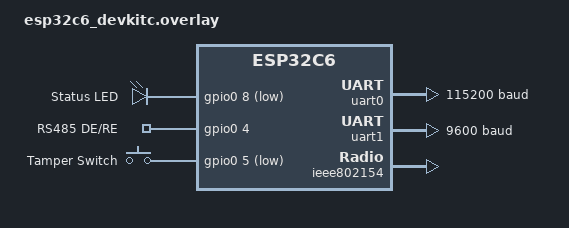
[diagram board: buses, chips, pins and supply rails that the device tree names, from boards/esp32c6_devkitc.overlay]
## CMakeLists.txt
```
cmake_minimum_required(VERSION 3.20.0)
find_package(Zephyr REQUIRED HINTS $ENV{ZEPHYR_BASE})

project(ami-thread-lwm2m
    VERSION 0.1.0
    DESCRIPTION "AMI Node: Thread + LwM2M on ESP32-C6 for Smart Energy"
    LANGUAGES C
)

# Application sources
target_sources(app PRIVATE
    src/main.c
    src/thread_network.c
    src/lwm2m_client.c
    src/lwm2m_objects.c
    src/meter_dlms.c
    src/meter_modbus.c
    src/fota.c
)

target_include_directories(app PRIVATE
    src/
)
```

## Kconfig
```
mainmenu "AMI Thread+LwM2M Node"

config AMI_FW_VERSION
	string "AMI node firmware version"
	default "0.2.0"
	help
	  Version string for AMI firmware, reported via LwM2M Object 3
	  (Device) and Object 5 (Firmware Update). Updated on each release.
	  Format: MAJOR.MINOR.PATCH (semver).

source "Kconfig.zephyr"
```

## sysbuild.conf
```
# ============================================================================
# Sysbuild: habilitar MCUboot como bootloader (dual-slot swap)
# ============================================================================
SB_CONFIG_BOOTLOADER_MCUBOOT=y
```

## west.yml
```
manifest:
  self:
    path: app

  remotes:
    - name: zephyrproject-rtos
      url-base: https://github.com/zephyrproject-rtos

  projects:
    - name: zephyr
      remote: zephyrproject-rtos
      revision: v4.2.0
      import:
        name-allowlist:
          - cmsis
          - hal_espressif
          - mbedtls
          - openthread
          - net-tools
```

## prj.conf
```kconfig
# ============================================================================
# AMI Thread + LwM2M Node — Zephyr Kconfig
# Target: XIAO ESP32-C6 (Seeed Studio)
# ============================================================================

# --- General ---
CONFIG_LOG=y
CONFIG_LOG_DEFAULT_LEVEL=3
CONFIG_LOG_BACKEND_UART=y
CONFIG_PRINTK=y
CONFIG_SHELL=y
CONFIG_ASSERT=y
CONFIG_REBOOT=y
CONFIG_HEAP_MEM_POOL_SIZE=65536
CONFIG_MAIN_STACK_SIZE=8192
CONFIG_SYSTEM_WORKQUEUE_STACK_SIZE=4096
CONFIG_BOOT_DELAY=3000

# --- Networking (IPv6 over Thread) ---
CONFIG_NETWORKING=y
CONFIG_NET_IPV6=y
CONFIG_NET_IPV4=n
CONFIG_NET_TCP=y
CONFIG_NET_UDP=y
CONFIG_NET_SOCKETS=y
CONFIG_NET_MAX_CONTEXTS=10
CONFIG_NET_PKT_RX_COUNT=16
CONFIG_NET_PKT_TX_COUNT=16
CONFIG_NET_BUF_RX_COUNT=32
CONFIG_NET_BUF_TX_COUNT=32
CONFIG_NET_IF_UNICAST_IPV6_ADDR_COUNT=6
CONFIG_NET_IF_MCAST_IPV6_ADDR_COUNT=8
CONFIG_NET_L2_OPENTHREAD=y
# CONFIG_NET_CONFIG_NEED_IPV6 removed in v4.2.0

# --- OpenThread ---
CONFIG_OPENTHREAD=y
CONFIG_OPENTHREAD_FTD=y
CONFIG_OPENTHREAD_SHELL=y
CONFIG_OPENTHREAD_NETWORK_NAME="AMI-Pilot-2025"
CONFIG_OPENTHREAD_CHANNEL=25
CONFIG_OPENTHREAD_PANID=43981
CONFIG_OPENTHREAD_XPANID="12:34:56:78:90:AB:CD:EF"
CONFIG_OPENTHREAD_NETWORKKEY="00:11:22:33:44:55:66:77:88:99:AA:BB:CC:DD:EE:FF"
CONFIG_OPENTHREAD_JOINER=y
CONFIG_OPENTHREAD_COMMISSIONER=n
CONFIG_OPENTHREAD_DNS_CLIENT=y
CONFIG_OPENTHREAD_SRP_CLIENT=y
CONFIG_OPENTHREAD_COAP=y
CONFIG_OPENTHREAD_MTD_SED=n
CONFIG_OPENTHREAD_DEFAULT_TX_POWER=8
CONFIG_OPENTHREAD_THREAD_VERSION_1_3=y

# Thread security (via mbedTLS, auto-enabled by OpenThread)
CONFIG_MBEDTLS=y
CONFIG_MBEDTLS_BUILTIN=y

# --- LwM2M Client ---
CONFIG_LWM2M=y
CONFIG_LWM2M_ENGINE_MAX_OBSERVER=10
CONFIG_LWM2M_ENGINE_MAX_MESSAGES=10
CONFIG_LWM2M_ENGINE_MAX_PENDING=10
CONFIG_LWM2M_ENGINE_MAX_REPLIES=10
CONFIG_LWM2M_ENGINE_STACK_SIZE=4096
CONFIG_LWM2M_ENGINE_DEFAULT_LIFETIME=300
CONFIG_LWM2M_COAP_BLOCK_SIZE=256
# LwM2M Objects
CONFIG_LWM2M_CONN_MON_OBJ_SUPPORT=y
CONFIG_LWM2M_IPSO_SUPPORT=y
CONFIG_LWM2M_IPSO_VOLTAGE_SENSOR=y
CONFIG_LWM2M_IPSO_CURRENT_SENSOR=y
CONFIG_LWM2M_IPSO_GENERIC_SENSOR=y
CONFIG_LWM2M_IPSO_GENERIC_SENSOR_INSTANCE_COUNT=2

# LwM2M security (NoSec for now, DTLS optional)
# CONFIG_LWM2M_DTLS_SUPPORT=y

# --- CoAP ---
CONFIG_COAP=y

# --- UART (RS-485 para medidores) ---
CONFIG_SERIAL=y
CONFIG_SERIAL_ESP32_USB=y
CONFIG_UART_INTERRUPT_DRIVEN=y

# --- GPIO (tamper detection, RS-485 DE/RE) ---
CONFIG_GPIO=y

# --- Power Management (deshabilitado: nodo alimentado por medidor) ---
# CONFIG_PM=y
# CONFIG_PM_DEVICE=y

# --- Flash & NVS (persistent storage) ---
CONFIG_FLASH=y
CONFIG_FLASH_MAP=y
CONFIG_NVS=y
CONFIG_SETTINGS=y
CONFIG_SETTINGS_NVS=y

# --- Watchdog ---
CONFIG_WATCHDOG=y
CONFIG_WDT_DISABLE_AT_BOOT=n

# --- MCUboot + FOTA (OTA firmware update) ---
CONFIG_BOOTLOADER_MCUBOOT=y
CONFIG_IMG_MANAGER=y
CONFIG_MCUBOOT_IMG_MANAGER=y
CONFIG_IMG_ERASE_PROGRESSIVELY=y
CONFIG_IMG_ENABLE_IMAGE_CHECK=y
CONFIG_IMG_BLOCK_BUF_SIZE=512
CONFIG_STREAM_FLASH=y

# LwM2M Firmware Update Object (ID 5)
CONFIG_LWM2M_FIRMWARE_UPDATE_OBJ_SUPPORT=y
CONFIG_LWM2M_FIRMWARE_UPDATE_PULL_SUPPORT=y

# Versión de firmware (usada por FOTA para reportar al servidor)
CONFIG_AMI_FW_VERSION="0.2.0"

# --- Debug (desactivar en producción) ---
CONFIG_THREAD_ANALYZER=y
CONFIG_THREAD_NAME=y
CONFIG_EXCEPTION_STACK_TRACE=y
CONFIG_FAULT_DUMP=2
CONFIG_EXTRA_EXCEPTION_INFO=y
CONFIG_EARLY_CONSOLE=y

# --- IEEE 802.15.4 radio debug ---
CONFIG_IEEE802154_DRIVER_LOG_LEVEL_DBG=y

# --- Floating point printf support ---
CONFIG_CBPRINTF_FP_SUPPORT=y
```

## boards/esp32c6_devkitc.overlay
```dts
/*
 * ESP32-C6 AMI Node — Device Tree Overlay
 * 
 * Configura:
 * - UART1 para RS-485 (medidor DLMS/Modbus)
 * - GPIO para RS-485 DE/RE control
 * - GPIO para tamper detection (alarma apertura caja)
 */

/ {
	aliases {
		meter-uart = &uart1;
		led0 = &led_status;
	};

	chosen {
		zephyr,console = &uart0;
		zephyr,shell-uart = &uart0;
	};

	leds {
		compatible = "gpio-leds";
		led_status: led_0 {
			gpios = <&gpio0 8 GPIO_ACTIVE_LOW>;
			label = "Status LED";
		};
	};

	/* RS-485 direction control (DE/RE pin) */
	rs485_ctrl {
		compatible = "gpio-keys";
		rs485_de: rs485_de_pin {
			gpios = <&gpio0 4 GPIO_ACTIVE_HIGH>;
			label = "RS485 DE/RE";
		};
	};

	/* Tamper detection switch */
	tamper_detect {
		compatible = "gpio-keys";
		tamper_sw: tamper_switch {
			gpios = <&gpio0 5 (GPIO_PULL_UP | GPIO_ACTIVE_LOW)>;
			label = "Tamper Switch";
		};
	};
};

/* UART0: Console/Shell (default) */
&uart0 {
	status = "okay";
	current-speed = <115200>;
};

/* UART1: RS-485 to meter (DLMS/COSEM or Modbus RTU) */
&uart1 {
	status = "okay";
	current-speed = <9600>;
	/* TX: GPIO6, RX: GPIO7 — adjust per your wiring */
	pinctrl-0 = <&uart1_default>;
	pinctrl-names = "default";
};

&ieee802154 {
	status = "okay";
};
```

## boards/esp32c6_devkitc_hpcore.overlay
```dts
/*
 * ESP32-C6 AMI Node — Device Tree Overlay (Zephyr v4.2.0)
 *
 * Configura:
 * - UART1 para RS-485 (medidor DLMS/Modbus) — TX: GPIO10, RX: GPIO11
 * - GPIO para RS-485 DE/RE control          — GPIO4
 * - GPIO para tamper detection              — GPIO5
 * - LED de estado                           — GPIO8
 *
 * La board base (esp32c6_devkitc_hpcore) ya habilita:
 *   ieee802154, wifi, uart0 (console), gpio0, trng0, wdt0
 */

#include <zephyr/dt-bindings/pinctrl/esp-pinctrl-common.h>
#include <dt-bindings/pinctrl/esp32c6-pinctrl.h>
#include <zephyr/dt-bindings/pinctrl/esp32c6-gpio-sigmap.h>

/* ── Pinctrl para UART1 (RS-485) ──────────────────────────── */
&pinctrl {
	uart1_default: uart1_default {
		group1 {
			pinmux = <UART1_TX_GPIO10>;
			output-high;
		};
		group2 {
			pinmux = <UART1_RX_GPIO11>;
			bias-pull-up;
		};
	};
};

/ {
	aliases {
		meter-uart = &uart1;
		led0 = &led_status;
	};

	leds {
		compatible = "gpio-leds";
		led_status: led_0 {
			gpios = <&gpio0 8 GPIO_ACTIVE_LOW>;
			label = "Status LED";
		};
	};

	/* RS-485 direction control (DE/RE pin) */
	rs485_ctrl {
		compatible = "gpio-keys";
		rs485_de: rs485_de_pin {
			gpios = <&gpio0 4 GPIO_ACTIVE_HIGH>;
			label = "RS485 DE/RE";
		};
	};

	/* Tamper detection switch */
	tamper_detect {
		compatible = "gpio-keys";
		tamper_sw: tamper_switch {
			gpios = <&gpio0 5 (GPIO_PULL_UP | GPIO_ACTIVE_LOW)>;
			label = "Tamper Switch";
		};
	};
};

/* UART1: RS-485 to meter (DLMS/COSEM or Modbus RTU) */
&uart1 {
	status = "okay";
	current-speed = <9600>;
	pinctrl-0 = <&uart1_default>;
	pinctrl-names = "default";
};
```

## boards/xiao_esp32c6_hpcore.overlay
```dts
/*
 * XIAO ESP32-C6 AMI Node — Device Tree Overlay (Zephyr v4.2.0)
 *
 * Configura:
 * - UART1 para RS-485 (medidor DLMS/Modbus) — TX: GPIO0 (D0), RX: GPIO1 (D1)
 * - GPIO para RS-485 DE/RE control          — GPIO2 (D2)
 * - GPIO para tamper detection              — GPIO21 (D3)
 * - LED de estado ya definida en DTS base   — GPIO15
 *
 * Pin mapping XIAO ESP32-C6:
 *   D0=GPIO0, D1=GPIO1, D2=GPIO2, D3=GPIO21, D4=GPIO22(SDA),
 *   D5=GPIO23(SCL), D6=GPIO16(TX), D7=GPIO17(RX),
 *   D8=GPIO19(SCK), D9=GPIO20(MISO), D10=GPIO18(MOSI)
 *
 * La board base (xiao_esp32c6_hpcore) ya habilita:
 *   ieee802154, wifi, usb_serial (console), gpio0, trng0, wdt0
 */

#include <zephyr/dt-bindings/pinctrl/esp-pinctrl-common.h>
#include <dt-bindings/pinctrl/esp32c6-pinctrl.h>
#include <zephyr/dt-bindings/pinctrl/esp32c6-gpio-sigmap.h>

/* ── Pinctrl para UART1 (RS-485) ──────────────────────────── */
&pinctrl {
	uart1_default: uart1_default {
		group1 {
			pinmux = <UART1_TX_GPIO0>;
			output-high;
		};
		group2 {
			pinmux = <UART1_RX_GPIO1>;
			bias-pull-up;
		};
	};
};

/ {
	aliases {
		meter-uart = &uart1;
		/* led0 already defined in base DTS (GPIO15) */
	};

	/* RS-485 direction control (DE/RE pin) on D2 */
	rs485_ctrl {
		compatible = "gpio-keys";
		rs485_de: rs485_de_pin {
			gpios = <&gpio0 2 GPIO_ACTIVE_HIGH>;
			label = "RS485 DE/RE";
		};
	};

	/* Tamper detection switch on D3 */
	tamper_detect {
		compatible = "gpio-keys";
		tamper_sw: tamper_switch {
			gpios = <&gpio0 21 (GPIO_PULL_UP | GPIO_ACTIVE_LOW)>;
			label = "Tamper Switch";
		};
	};
};

/* UART1: RS-485 to meter (DLMS/COSEM or Modbus RTU) */
&uart1 {
	status = "okay";
	current-speed = <9600>;
	pinctrl-0 = <&uart1_default>;
	pinctrl-names = "default";
};
```

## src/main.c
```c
/*
 * AMI Thread + LwM2M Node — Main Entry Point
 * 
 * Sistema de medición inteligente sobre ESP32-C6 con Zephyr RTOS.
 * Arquitectura: Thread mesh → CoAP/LwM2M → Border Router → Gateway Edge
 * 
 * Flujo principal:
 * 1. Inicializar hardware (UART, GPIO, LED)
 * 2. Unirse a red Thread (OpenThread FTD)
 * 3. Registrar cliente LwM2M con servidor (Leshan/ThingsBoard)
 * 4. Loop: leer medidor → actualizar objects LwM2M → esperar intervalo
 */

#include <zephyr/kernel.h>
#include <zephyr/version.h>
#include <zephyr/logging/log.h>
#include <zephyr/drivers/gpio.h>
#include <zephyr/net/openthread.h>
#include <openthread.h>  /* new module-level API (v4.2.0) */

#include "thread_network.h"
#include "lwm2m_client.h"
#include "meter_dlms.h"
#include "meter_modbus.h"
#include "fota.h"

LOG_MODULE_REGISTER(main, LOG_LEVEL_INF);

/* Intervalo de lectura del medidor (ms) */
#define METER_READ_INTERVAL_MS  (15 * 60 * 1000)  /* 15 minutos */

/* LED de estado */
static const struct gpio_dt_spec led_status =
	GPIO_DT_SPEC_GET(DT_ALIAS(led0), gpios);

/* Tamper detection */
static const struct gpio_dt_spec tamper_sw =
	GPIO_DT_SPEC_GET(DT_NODELABEL(tamper_sw), gpios);

static struct gpio_callback tamper_cb_data;

/* --- Tamper ISR --- */
static void tamper_isr(const struct device *dev, struct gpio_callback *cb,
		       uint32_t pins)
{
	LOG_WRN("TAMPER DETECTED — sending critical alarm");
	/* TODO: Notificar vía LwM2M alarma CRITICAL */
	lwm2m_notify_tamper_alarm();
}

/* --- Estado del sistema --- */
typedef enum {
	STATE_INIT,
	STATE_THREAD_JOINING,
	STATE_THREAD_CONNECTED,
	STATE_LWM2M_REGISTERING,
	STATE_OPERATIONAL,
	STATE_ERROR,
} system_state_t;

static volatile system_state_t current_state = STATE_INIT;

/* --- Callback Thread state change --- */
static void on_thread_state_changed(otChangedFlags flags, void *context)
{
	ARG_UNUSED(context);

	if (flags & OT_CHANGED_THREAD_ROLE) {
		otDeviceRole role = otThreadGetDeviceRole(
			openthread_get_default_instance());

		switch (role) {
		case OT_DEVICE_ROLE_CHILD:
		case OT_DEVICE_ROLE_ROUTER:
		case OT_DEVICE_ROLE_LEADER:
			LOG_INF("Thread attached as %s",
				otThreadDeviceRoleToString(role));
			current_state = STATE_THREAD_CONNECTED;
			break;
		case OT_DEVICE_ROLE_DETACHED:
		case OT_DEVICE_ROLE_DISABLED:
			LOG_WRN("Thread detached/disabled");
			current_state = STATE_THREAD_JOINING;
			break;
		}
	}
}

/* --- Main --- */
int main(void)
{
	int ret;

	LOG_INF("=== AMI Thread+LwM2M Node v%s ===", fota_get_current_version());
	LOG_INF("Board: XIAO ESP32-C6");
	LOG_INF("RTOS: Zephyr %s", KERNEL_VERSION_STRING);

	/* 1. Inicializar LED de estado */
	if (gpio_is_ready_dt(&led_status)) {
		gpio_pin_configure_dt(&led_status, GPIO_OUTPUT_ACTIVE);
		gpio_pin_set_dt(&led_status, 0);
	}

	/* 2. Inicializar tamper detection */
	if (gpio_is_ready_dt(&tamper_sw)) {
		gpio_pin_configure_dt(&tamper_sw, GPIO_INPUT);
		gpio_pin_interrupt_configure_dt(&tamper_sw,
						GPIO_INT_EDGE_TO_ACTIVE);
		gpio_init_callback(&tamper_cb_data, tamper_isr,
				   BIT(tamper_sw.pin));
		gpio_add_callback(tamper_sw.port, &tamper_cb_data);
		LOG_INF("Tamper detection enabled on GPIO%d", tamper_sw.pin);
	}

	/* 3. Inicializar subsistema de medidores (UART) */
	ret = meter_dlms_init();
	if (ret < 0) {
		LOG_WRN("DLMS meter init failed: %d (will retry)", ret);
	}

	ret = meter_modbus_init();
	if (ret < 0) {
		LOG_WRN("Modbus meter init failed: %d (will retry)", ret);
	}

	/* 4. Inicializar y unirse a red Thread */
	LOG_INF("Joining Thread network...");
	current_state = STATE_THREAD_JOINING;
	ret = thread_network_init(on_thread_state_changed);
	if (ret < 0) {
		LOG_ERR("Thread init failed: %d", ret);
		current_state = STATE_ERROR;
		return ret;
	}

	/* Esperar conexión Thread (timeout 60s) */
	int timeout_ms = 60000;
	while (current_state != STATE_THREAD_CONNECTED && timeout_ms > 0) {
		k_msleep(500);
		timeout_ms -= 500;
		gpio_pin_toggle_dt(&led_status); /* Blink while joining */
	}

	if (current_state != STATE_THREAD_CONNECTED) {
		LOG_ERR("Thread join timeout after 60s");
		current_state = STATE_ERROR;
		return -ETIMEDOUT;
	}

	gpio_pin_set_dt(&led_status, 1); /* LED ON = connected */

	/* 5. Registrar cliente LwM2M */
	LOG_INF("Registering LwM2M client...");
	current_state = STATE_LWM2M_REGISTERING;
	ret = lwm2m_client_init();
	if (ret < 0) {
		LOG_ERR("LwM2M client init failed: %d", ret);
		current_state = STATE_ERROR;
		return ret;
	}

	/* 6. Inicializar FOTA (OTA firmware update via LwM2M Object 5) */
	ret = fota_init(NULL);
	if (ret < 0) {
		LOG_WRN("FOTA init failed: %d (OTA disabled)", ret);
	} else {
		LOG_INF("FOTA: OTA enabled — fw v%s, confirmed=%d",
			fota_get_current_version(), fota_is_confirmed());
	}

	current_state = STATE_OPERATIONAL;
	LOG_INF("System OPERATIONAL — reading meter every %d min",
		METER_READ_INTERVAL_MS / 60000);

	/* 6. Loop principal: leer medidor → report */
	while (1) {
		struct meter_reading reading = {0};

		/* Leer medidor (intentar DLMS primero, fallback Modbus) */
		ret = meter_dlms_read(&reading);
		if (ret < 0) {
			ret = meter_modbus_read(&reading);
		}

		if (ret == 0) {
			LOG_INF("Meter: %.1f V, %.2f A, %.3f kWh, PF=%.2f",
				(double)reading.voltage_v,
				(double)reading.current_a,
				(double)reading.energy_kwh,
				(double)reading.power_factor);

			/* Actualizar objects LwM2M (triggers Observe notify) */
			lwm2m_update_meter_data(&reading);

			/* Verificar alarmas de voltaje */
			if (reading.voltage_v < 207.0f ||
			    reading.voltage_v > 253.0f) {
				LOG_WRN("Voltage alarm: %.1f V",
					(double)reading.voltage_v);
				lwm2m_notify_voltage_alarm(reading.voltage_v);
			}
		} else {
			LOG_WRN("Meter read failed: %d", ret);
		}

		/* Esperar hasta próxima lectura (nodo alimentado por medidor, sin sleep) */
		k_sleep(K_MSEC(METER_READ_INTERVAL_MS));
	}

	return 0;
}
```

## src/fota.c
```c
/*
 * fota.c — Firmware Over-The-Air via LwM2M Object 5 + MCUboot
 *
 * Implementación para ESP32-C6 con Zephyr RTOS:
 * - Recibe firmware vía CoAP Block Transfer (Object 5/0/0 PUSH o 5/0/1 PULL)
 * - Escribe bloques directamente a flash slot1 (image-1) vía stream_flash
 * - Al completar descarga: verifica integridad (hash MCUboot header)
 * - Execute resource (5/0/2): marca imagen con boot_request_upgrade()
 * - Tras reboot: MCUboot carga slot1, ejecuta como test → confirmación
 *
 * Dependencias Kconfig:
 *   CONFIG_BOOTLOADER_MCUBOOT=y
 *   CONFIG_LWM2M_FIRMWARE_UPDATE_OBJ_SUPPORT=y
 *   CONFIG_IMG_MANAGER=y
 *   CONFIG_MCUBOOT_IMG_MANAGER=y
 *   CONFIG_STREAM_FLASH=y
 *   CONFIG_FLASH=y
 *   CONFIG_FLASH_MAP=y
 *   CONFIG_REBOOT=y
 */

#include <zephyr/kernel.h>
#include <zephyr/logging/log.h>
#include <zephyr/net/lwm2m.h>
#include <zephyr/dfu/mcuboot.h>
#include <zephyr/dfu/flash_img.h>
#include <zephyr/sys/reboot.h>
#include <zephyr/storage/flash_map.h>

#include "fota.h"

LOG_MODULE_REGISTER(fota, LOG_LEVEL_INF);

/* --- Versión de firmware (se actualiza en cada release) --- */
#define FW_VERSION CONFIG_AMI_FW_VERSION

/* --- Contexto interno --- */
static struct flash_img_context flash_ctx;
static struct fota_progress progress;
static fota_progress_cb_t user_cb;
static bool image_confirmed;
static uint8_t firmware_buf[CONFIG_LWM2M_COAP_BLOCK_SIZE];

/* Array con protocolos soportados (CoAP = 0) */
static uint8_t supported_protocols[] = { 0 /* CoAP */ };

/* --- Forward declarations --- */
static int fota_update_cb(uint16_t obj_inst_id,
			  uint8_t *args, uint16_t args_len);
static void *fota_get_buf(uint16_t obj_inst_id, uint16_t res_id,
			  uint16_t res_inst_id, size_t *data_len);
static int fota_block_received_cb(uint16_t obj_inst_id, uint16_t res_id,
				  uint16_t res_inst_id, uint8_t *data,
				  uint16_t data_len, bool last_block,
				  size_t total_size, size_t offset);
static int fota_cancel_cb(uint16_t obj_inst_id);

/* --- Notificar progreso --- */
static void notify_progress(void)
{
	if (user_cb) {
		user_cb(&progress);
	}
}

/* --- Confirmar imagen actual si es "test" tras OTA --- */
static void confirm_image_if_needed(void)
{
	if (!boot_is_img_confirmed()) {
		LOG_INF("FOTA: Image is unconfirmed (first boot after OTA)");
		int ret = boot_write_img_confirmed();
		if (ret == 0) {
			LOG_INF("FOTA: Image CONFIRMED — rollback disabled");
			image_confirmed = true;
		} else {
			LOG_ERR("FOTA: Failed to confirm image: %d", ret);
			LOG_WRN("FOTA: MCUboot will rollback on next reboot!");
			image_confirmed = false;
		}
	} else {
		LOG_INF("FOTA: Running confirmed image v%s", FW_VERSION);
		image_confirmed = true;
	}
}

/* --- Callback: bloque de firmware recibido --- */
static void *fota_get_buf(uint16_t obj_inst_id, uint16_t res_id,
			  uint16_t res_inst_id, size_t *data_len)
{
	*data_len = sizeof(firmware_buf);
	return firmware_buf;
}

static int fota_block_received_cb(uint16_t obj_inst_id, uint16_t res_id,
				  uint16_t res_inst_id, uint8_t *data,
				  uint16_t data_len, bool last_block,
				  size_t total_size, size_t offset)
{
	int ret;

	/* Primer bloque: inicializar contexto de flash */
	if (offset == 0) {
		LOG_INF("FOTA: Download started, total_size=%zu", total_size);
		progress.status = FOTA_STATUS_DOWNLOADING;
		progress.total_size = total_size;
		progress.bytes_received = 0;
		progress.percent = 0;

		ret = flash_img_init(&flash_ctx);
		if (ret) {
			LOG_ERR("FOTA: flash_img_init failed: %d", ret);
			progress.status = FOTA_STATUS_ERROR;
			progress.last_error = ret;
			notify_progress();
			return ret;
		}

		/* Informar al servidor LwM2M: estado = descargando */
		lwm2m_set_u8(&LWM2M_OBJ(5, 0, 3), STATE_DOWNLOADING);
	}

	/* Escribir bloque a flash slot1 */
	ret = flash_img_buffered_write(&flash_ctx, data, data_len, last_block);
	if (ret) {
		LOG_ERR("FOTA: flash write failed at offset %zu: %d",
			offset, ret);
		progress.status = FOTA_STATUS_ERROR;
		progress.last_error = ret;
		lwm2m_set_u8(&LWM2M_OBJ(5, 0, 3), STATE_IDLE);
		lwm2m_set_u8(&LWM2M_OBJ(5, 0, 5), RESULT_INTEGRITY_FAILED);
		notify_progress();
		return ret;
	}

	/* Actualizar progreso */
	progress.bytes_received = offset + data_len;
	if (total_size > 0) {
		progress.percent = (uint8_t)((progress.bytes_received * 100)
					     / total_size);
	}

	LOG_DBG("FOTA: block offset=%zu len=%u (%u%%)",
		offset, data_len, progress.percent);

	/* Último bloque: descarga completa */
	if (last_block) {
		LOG_INF("FOTA: Download complete — %zu bytes received",
			progress.bytes_received);
		progress.status = FOTA_STATUS_DOWNLOADED;

		/* Verificar integridad de la imagen (MCUboot header/trailer) */
		if (IS_ENABLED(CONFIG_IMG_ENABLE_IMAGE_CHECK)) {
			struct flash_img_check fic = { .match = NULL, .clen = 0 };
			ret = flash_img_check(&flash_ctx, &fic,
					      FIXED_PARTITION_ID(slot1_partition));
			if (ret) {
				LOG_ERR("FOTA: Image integrity check FAILED: %d", ret);
				progress.status = FOTA_STATUS_ERROR;
				progress.last_error = ret;
				lwm2m_set_u8(&LWM2M_OBJ(5, 0, 3), STATE_IDLE);
				lwm2m_set_u8(&LWM2M_OBJ(5, 0, 5),
					     RESULT_INTEGRITY_FAILED);
				notify_progress();
				return ret;
			}
		}

		lwm2m_set_u8(&LWM2M_OBJ(5, 0, 3), STATE_DOWNLOADED);
		lwm2m_set_u8(&LWM2M_OBJ(5, 0, 5), RESULT_DEFAULT);
	}

	notify_progress();
	return 0;
}

/* --- Callback: ejecutar actualización --- */
static int fota_update_cb(uint16_t obj_inst_id,
			  uint8_t *args, uint16_t args_len)
{
	int ret;

	LOG_INF("FOTA: Update requested — marking image for test swap");
	progress.status = FOTA_STATUS_UPDATING;
	notify_progress();

	/* Marcar imagen en slot1 como "pendiente de test" */
	ret = boot_request_upgrade(BOOT_UPGRADE_TEST);
	if (ret) {
		LOG_ERR("FOTA: boot_request_upgrade failed: %d", ret);
		progress.status = FOTA_STATUS_ERROR;
		progress.last_error = ret;
		lwm2m_set_u8(&LWM2M_OBJ(5, 0, 3), STATE_IDLE);
		lwm2m_set_u8(&LWM2M_OBJ(5, 0, 5), RESULT_UPDATE_FAILED);
		notify_progress();
		return ret;
	}

	lwm2m_set_u8(&LWM2M_OBJ(5, 0, 3), STATE_UPDATING);
	LOG_INF("FOTA: Image marked for swap — rebooting in 3s...");
	progress.status = FOTA_STATUS_REBOOTING;
	notify_progress();

	/* Delay antes de reboot para que la notificación LwM2M salga */
	k_sleep(K_SECONDS(3));
	sys_reboot(SYS_REBOOT_COLD);

	/* No se llega aquí */
	return 0;
}

/* --- Callback: cancelar descarga --- */
static int fota_cancel_cb(uint16_t obj_inst_id)
{
	LOG_INF("FOTA: Update cancelled by server");
	progress.status = FOTA_STATUS_IDLE;
	progress.bytes_received = 0;
	progress.total_size = 0;
	progress.percent = 0;

	lwm2m_set_u8(&LWM2M_OBJ(5, 0, 3), STATE_IDLE);
	lwm2m_set_u8(&LWM2M_OBJ(5, 0, 5), RESULT_DEFAULT);
	notify_progress();
	return 0;
}

/* === API pública === */

int fota_init(fota_progress_cb_t cb)
{
	user_cb = cb;
	progress.status = FOTA_STATUS_IDLE;
	progress.bytes_received = 0;
	progress.total_size = 0;
	progress.percent = 0;
	progress.last_error = 0;

	/* Verificar/confirmar imagen actual */
	confirm_image_if_needed();

	/* Configurar Object 5 (Firmware Update) */

	/* Buffer para recepción de bloques (resource 5/0/0: Package) */
	lwm2m_register_pre_write_callback(&LWM2M_OBJ(5, 0, 0), fota_get_buf);
	lwm2m_firmware_set_write_cb(fota_block_received_cb);

	/* Callback cancelar */
	lwm2m_firmware_set_cancel_cb(fota_cancel_cb);

	/* Callback ejecutar update (resource 5/0/2: Update) */
	lwm2m_firmware_set_update_cb(fota_update_cb);

	/* Protocolos soportados (resource 5/0/8) — CoAP */
	lwm2m_create_res_inst(&LWM2M_OBJ(5, 0, 8, 0));
	lwm2m_set_res_buf(&LWM2M_OBJ(5, 0, 8, 0),
			  &supported_protocols[0],
			  sizeof(supported_protocols[0]),
			  sizeof(supported_protocols[0]), 0);

	/* Firmware version en Object 5 (resource 5/0/6) */
	lwm2m_set_string(&LWM2M_OBJ(5, 0, 6), FW_VERSION);

	/* Estado inicial */
	lwm2m_set_u8(&LWM2M_OBJ(5, 0, 3), STATE_IDLE);
	lwm2m_set_u8(&LWM2M_OBJ(5, 0, 5), RESULT_DEFAULT);

	LOG_INF("FOTA: Initialized — fw v%s, MCUboot confirmed=%d",
		FW_VERSION, image_confirmed);

	return 0;
}

fota_status_t fota_get_status(void)
{
	return progress.status;
}

void fota_get_progress(struct fota_progress *out)
{
	if (out) {
		*out = progress;
	}
}

const char *fota_get_current_version(void)
{
	return FW_VERSION;
}

bool fota_is_confirmed(void)
{
	return image_confirmed;
}
```

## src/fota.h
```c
/*
 * fota.h — Firmware Over-The-Air (FOTA) via LwM2M Object 5
 *
 * Soporta actualización de firmware usando:
 * - MCUboot bootloader (dual-slot swap con rollback)
 * - LwM2M Firmware Update Object (ID 5)
 * - CoAP Block-wise Transfer para recepción de imagen
 * - Verificación SHA256 antes de marcar imagen pendiente
 *
 * Flujo OTA:
 * 1. Servidor escribe URI en /5/0/1 (Package URI) — modo PULL
 *    o escribe bloques en /5/0/0 (Package) — modo PUSH
 * 2. Firmware descarga/recibe imagen a flash slot1
 * 3. Servidor ejecuta /5/0/2 (Update) → marca imagen pendiente
 * 4. MCUboot reinicia → prueba slot1 → confirma o rollback
 */

#ifndef FOTA_H_
#define FOTA_H_

#include <stdint.h>
#include <stdbool.h>

/**
 * @brief Estado interno del proceso FOTA
 */
typedef enum {
	FOTA_STATUS_IDLE,         /* Sin actualización en curso */
	FOTA_STATUS_DOWNLOADING,  /* Recibiendo bloques de firmware */
	FOTA_STATUS_DOWNLOADED,   /* Descarga completa, pendiente de verificación */
	FOTA_STATUS_UPDATING,     /* Marcando imagen para swap en MCUboot */
	FOTA_STATUS_REBOOTING,    /* Reinicio programado */
	FOTA_STATUS_ERROR,        /* Error en el proceso */
} fota_status_t;

/**
 * @brief Información de progreso FOTA
 */
struct fota_progress {
	fota_status_t status;
	size_t bytes_received;
	size_t total_size;
	uint8_t percent;          /* 0-100 */
	int last_error;           /* Código de error si status == ERROR */
};

/**
 * @brief Callback para notificar progreso FOTA al sistema principal
 */
typedef void (*fota_progress_cb_t)(const struct fota_progress *progress);

/**
 * @brief Inicializar subsistema FOTA
 *
 * Registra callbacks de LwM2M Object 5, configura buffer de escritura
 * a flash, y verifica estado de imagen actual con MCUboot.
 *
 * Si la imagen actual es "test" (primera ejecución tras OTA),
 * la confirma automáticamente como válida.
 *
 * @param cb Callback de progreso (puede ser NULL)
 * @return 0 en éxito, código de error negativo en fallo
 */
int fota_init(fota_progress_cb_t cb);

/**
 * @brief Obtener estado actual del proceso FOTA
 * @return Estado actual
 */
fota_status_t fota_get_status(void);

/**
 * @brief Obtener progreso actual de descarga
 * @param progress Estructura de progreso a llenar
 */
void fota_get_progress(struct fota_progress *progress);

/**
 * @brief Obtener versión de firmware actual
 * @return String estático con versión (e.g., "0.2.0")
 */
const char *fota_get_current_version(void);

/**
 * @brief verificar si el rollback es necesario
 *
 * Llamar periódicamente después de OTA. Si el sistema detecta
 * problemas persistentes, no confirmará la imagen y MCUboot
 * hará rollback en el próximo reinicio.
 *
 * @return true si la imagen actual fue confirmada exitosamente
 */
bool fota_is_confirmed(void);

#endif /* FOTA_H_ */
```

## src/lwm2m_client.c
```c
/*
 * lwm2m_client.c — LwM2M client: registration + object management
 *
 * Utiliza el subsistema LwM2M nativo de Zephyr para:
 * 1. Registrarse con servidor Leshan (100.67.60.126:5683)
 * 2. Exponer Objects IPSO con datos del medidor
 * 3. Soportar Observe/Notify para telemetría push
 * 4. Enviar alarmas como notificaciones CON (confirmable)
 *
 * Mapeado OBIS → LwM2M (Zephyr IPSO objects disponibles):
 *
 * +--------+--------------------------+----------------------------------+
 * | ObjID  | Nombre                   | Uso en AMI                       |
 * +--------+--------------------------+----------------------------------+
 * | 3      | Device                   | Info HW: manufacturer, model,    |
 * |        |                          | firmware version, serial number  |
 * +--------+--------------------------+----------------------------------+
 * | 4      | Connectivity Monitoring  | RSSI, link quality, IP address,  |
 * |        |                          | network bearer (Thread)          |
 * +--------+--------------------------+----------------------------------+
 * | 3316   | Voltage Sensor           | Tensión L1 (V) — OBIS 32.7.0    |
 * +--------+--------------------------+----------------------------------+
 * | 3317   | Current Sensor           | Corriente L1 (A) — OBIS 31.7.0  |
 * +--------+--------------------------+----------------------------------+
 * | 3300/0 | Generic Sensor (Energy)  | kWh importada — OBIS 1.8.0      |
 * +--------+--------------------------+----------------------------------+
 * | 3300/1 | Generic Sensor (PF)      | Factor de potencia — OBIS 13.7.0|
 * +--------+--------------------------+----------------------------------+
 */

#include <zephyr/kernel.h>
#include <zephyr/version.h>
#include <zephyr/logging/log.h>
#include <zephyr/net/lwm2m.h>
#include <zephyr/sys/reboot.h>

#include "lwm2m_client.h"
#include "thread_network.h"

LOG_MODULE_REGISTER(lwm2m, LOG_LEVEL_INF);

/* Endpoint name for LwM2M registration */
#define LWM2M_ENDPOINT_NAME  "ami-esp32c6-001"

/* LwM2M server URI — Leshan en el servidor de desarrollo */
#define LWM2M_SERVER_URI     "coap://100.67.60.126:5683"

/* IPSO Resource IDs (common to all sensor objects) */
#define SENSOR_VALUE_RID     5700
#define SENSOR_UNITS_RID     5701

/* RD client context */
static struct lwm2m_ctx client_ctx;

/* --- Static buffers for Device Object (3) OPTDATA resources --- */
static char dev_manufacturer[]  = "Espressif";
static char dev_model_number[]  = "XIAO-ESP32-C6";
static char dev_serial_number[] = "SN-AMI-001";
static char dev_fw_version[16];
static char dev_device_type[]   = "ESP32-C6 RISC-V";
static char dev_hw_version[]    = "Zephyr " KERNEL_VERSION_STRING;
static char dev_sw_version[]    = KERNEL_VERSION_STRING;

/* --- Device Object (3) callbacks --- */
static int device_reboot_cb(uint16_t obj_inst_id,
			    uint8_t *args, uint16_t args_len)
{
	LOG_WRN("Reboot requested via LwM2M — rebooting in 1s");
	k_sleep(K_SECONDS(1));
	sys_reboot(SYS_REBOOT_COLD);
	return 0; /* unreachable */
}

/* --- Inicialización de Objects LwM2M --- */
static int init_lwm2m_objects(void)
{
	/*
	 * Object 3: Device — recursos son OPTDATA, necesitan buffer propio.
	 * Usamos lwm2m_set_res_buf() para asignar buffers estáticos.
	 */
	lwm2m_set_res_buf(&LWM2M_OBJ(3, 0, 0),
			  dev_manufacturer, sizeof(dev_manufacturer),
			  sizeof(dev_manufacturer), LWM2M_RES_DATA_FLAG_RO);
	lwm2m_set_res_buf(&LWM2M_OBJ(3, 0, 1),
			  dev_model_number, sizeof(dev_model_number),
			  sizeof(dev_model_number), LWM2M_RES_DATA_FLAG_RO);
	lwm2m_set_res_buf(&LWM2M_OBJ(3, 0, 2),
			  dev_serial_number, sizeof(dev_serial_number),
			  sizeof(dev_serial_number), LWM2M_RES_DATA_FLAG_RO);
	strncpy(dev_fw_version, CONFIG_AMI_FW_VERSION, sizeof(dev_fw_version) - 1);
	lwm2m_set_res_buf(&LWM2M_OBJ(3, 0, 3),
			  dev_fw_version, strlen(dev_fw_version) + 1,
			  sizeof(dev_fw_version), LWM2M_RES_DATA_FLAG_RO);
	lwm2m_register_exec_callback(&LWM2M_OBJ(3, 0, 4),
				     device_reboot_cb);
	lwm2m_set_res_buf(&LWM2M_OBJ(3, 0, 17),
			  dev_device_type, sizeof(dev_device_type),
			  sizeof(dev_device_type), LWM2M_RES_DATA_FLAG_RO);
	lwm2m_set_res_buf(&LWM2M_OBJ(3, 0, 18),
			  dev_hw_version, sizeof(dev_hw_version),
			  sizeof(dev_hw_version), LWM2M_RES_DATA_FLAG_RO);
	lwm2m_set_res_buf(&LWM2M_OBJ(3, 0, 19),
			  dev_sw_version, sizeof(dev_sw_version),
			  sizeof(dev_sw_version), LWM2M_RES_DATA_FLAG_RO);

	/*
	 * Object 4: Connectivity Monitoring
	 * Instance 0 is auto-created by Zephyr, no need to create it.
	 */

	/*
	 * Object 3316: Voltage Sensor (instance 0) — Tensión L1
	 * Resource 5700 = Sensor Value (float64)
	 * Resource 5701 = Sensor Units (string)
	 */
	lwm2m_create_object_inst(&LWM2M_OBJ(3316, 0));

	/*
	 * Object 3317: Current Sensor (instance 0) — Corriente L1
	 */
	lwm2m_create_object_inst(&LWM2M_OBJ(3317, 0));

	/*
	 * Object 3300: Generic Sensor
	 * Instance 0 = Energía activa importada (kWh)
	 * Instance 1 = Factor de potencia
	 */
	lwm2m_create_object_inst(&LWM2M_OBJ(3300, 0));
	lwm2m_create_object_inst(&LWM2M_OBJ(3300, 1));

	LOG_INF("LwM2M objects: 3(Device), 4(Conn), "
		"3316(Voltage), 3317(Current), 3300x2(Energy,PF)");
	return 0;
}

/* --- RD Client callbacks --- */
static void rd_client_event_cb(struct lwm2m_ctx *client,
			       enum lwm2m_rd_client_event event)
{
	switch (event) {
	case LWM2M_RD_CLIENT_EVENT_REGISTRATION_COMPLETE:
		LOG_INF("LwM2M Registration complete");
		break;
	case LWM2M_RD_CLIENT_EVENT_REGISTRATION_FAILURE:
		LOG_ERR("LwM2M Registration failed");
		break;
	case LWM2M_RD_CLIENT_EVENT_REG_UPDATE_COMPLETE:
		LOG_DBG("LwM2M Registration update complete");
		break;
	case LWM2M_RD_CLIENT_EVENT_DEREGISTER:
		LOG_WRN("LwM2M Deregistered");
		break;
	case LWM2M_RD_CLIENT_EVENT_DISCONNECT:
		LOG_WRN("LwM2M Disconnected");
		break;
	default:
		LOG_DBG("LwM2M RD event: %d", event);
		break;
	}
}

int lwm2m_client_init(void)
{
	int ret;

	/* Inicializar objects */
	ret = init_lwm2m_objects();
	if (ret < 0) {
		return ret;
	}

	/* Configurar contexto del cliente */
	memset(&client_ctx, 0, sizeof(client_ctx));

	/* Iniciar RD Client — registro con servidor */
	lwm2m_rd_client_start(&client_ctx,
			      LWM2M_ENDPOINT_NAME,
			      0,		/* flags */
			      rd_client_event_cb,
			      NULL);		/* observer cb */

	LOG_INF("LwM2M RD client started, endpoint: %s",
		LWM2M_ENDPOINT_NAME);

	return 0;
}

int lwm2m_update_meter_data(const struct meter_reading *reading)
{
	/* Object 3316/0: Voltage Sensor — Tensión L1 (V) */
	lwm2m_set_f64(&LWM2M_OBJ(3316, 0, SENSOR_VALUE_RID),
		      (double)reading->voltage_v);

	/* Object 3317/0: Current Sensor — Corriente L1 (A) */
	lwm2m_set_f64(&LWM2M_OBJ(3317, 0, SENSOR_VALUE_RID),
		      (double)reading->current_a);

	/* Object 3300/0: Generic Sensor — Energía importada (kWh) */
	lwm2m_set_f64(&LWM2M_OBJ(3300, 0, SENSOR_VALUE_RID),
		      (double)reading->energy_kwh);

	/* Object 3300/1: Generic Sensor — Factor de potencia */
	lwm2m_set_f64(&LWM2M_OBJ(3300, 1, SENSOR_VALUE_RID),
		      (double)reading->power_factor);

	/* Object 4: Connectivity — update RSSI */
	int8_t rssi = thread_get_rssi();
	lwm2m_set_s8(&LWM2M_OBJ(4, 0, 2), rssi);

	LOG_DBG("LwM2M updated: V=%.1f, A=%.2f, kWh=%.3f, PF=%.2f, RSSI=%d",
		(double)reading->voltage_v, (double)reading->current_a,
		(double)reading->energy_kwh, (double)reading->power_factor, rssi);

	return 0;
}

void lwm2m_notify_tamper_alarm(void)
{
	/* Use Generic Sensor 3300/1 value 999.0 as tamper sentinel */
	lwm2m_set_f64(&LWM2M_OBJ(3300, 1, SENSOR_VALUE_RID), 999.0);
	LOG_WRN("Tamper alarm notified to LwM2M server");
}

void lwm2m_notify_voltage_alarm(float voltage_v)
{
	/* Update voltage value — Observe will trigger notification */
	lwm2m_set_f64(&LWM2M_OBJ(3316, 0, SENSOR_VALUE_RID),
		      (double)voltage_v);
	LOG_WRN("Voltage alarm: %.1f V notified", (double)voltage_v);
}
```

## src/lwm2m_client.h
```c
/*
 * lwm2m_client.h — LwM2M client for AMI telemetry
 */

#ifndef LWM2M_CLIENT_H_
#define LWM2M_CLIENT_H_

#include <stdint.h>

/**
 * @brief Estructura de lectura del medidor
 */
struct meter_reading {
	float voltage_v;      /* Tensión L1 (V) — OBIS 32.7.0 */
	float current_a;      /* Corriente L1 (A) — OBIS 31.7.0 */
	float energy_kwh;     /* Energía activa importada (kWh) — OBIS 1.8.0 */
	float energy_exp_kwh; /* Energía activa exportada (kWh) — OBIS 2.8.0 */
	float power_factor;   /* Factor de potencia — OBIS 13.7.0 */
	int64_t timestamp_ms; /* Timestamp lectura (uptime ms) */
};

/**
 * @brief Inicializar cliente LwM2M y registrar con servidor
 *
 * Configura Objects LwM2M:
 * - Object 3 (Device): info hardware
 * - Object 4 (Connectivity Monitoring): RSSI, link quality
 * - Object 3316 (Voltage Sensor): tensión L1
 * - Object 3317 (Current Sensor): corriente L1
 * - Object 3300/0 (Generic Sensor): energía importada (kWh)
 * - Object 3300/1 (Generic Sensor): factor de potencia
 *
 * @return 0 en éxito, código de error negativo en fallo
 */
int lwm2m_client_init(void);

/**
 * @brief Actualizar datos del medidor en objects LwM2M
 * 
 * Actualiza los recursos de los objects IPSO con los valores
 * de la última lectura del medidor. Si hay Observe activo,
 * esto triggers una notificación automática al servidor.
 *
 * @param reading Lectura del medidor
 * @return 0 en éxito
 */
int lwm2m_update_meter_data(const struct meter_reading *reading);

/**
 * @brief Notificar alarma de tamper (apertura caja)
 * Envía notificación inmediata (CON) al servidor
 */
void lwm2m_notify_tamper_alarm(void);

/**
 * @brief Notificar alarma de voltaje fuera de rango
 * @param voltage_v Voltaje actual que causó la alarma
 */
void lwm2m_notify_voltage_alarm(float voltage_v);

#endif /* LWM2M_CLIENT_H_ */
```

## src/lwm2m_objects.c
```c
/*
 * lwm2m_objects.c — Definición Objects IPSO para AMI
 *
 * Este archivo documenta los objects LwM2M utilizados.
 * La configuración real se hace en lwm2m_client.c usando
 * los objects built-in de Zephyr (IPSO).
 *
 * +--------+--------------------------+----------------------------------+
 * | ObjID  | Nombre                   | Uso en AMI                       |
 * +--------+--------------------------+----------------------------------+
 * | 3      | Device                   | Info HW: manufacturer, model,    |
 * |        |                          | firmware version, serial number  |
 * +--------+--------------------------+----------------------------------+
 * | 4      | Connectivity Monitoring  | RSSI, link quality, IP address,  |
 * |        |                          | network bearer (Thread)          |
 * +--------+--------------------------+----------------------------------+
 * | 3316   | Voltage Sensor (IPSO)    | Tensión L1 (V) — OBIS 32.7.0    |
 * |        |                          | Res 5700 = Sensor Value          |
 * +--------+--------------------------+----------------------------------+
 * | 3317   | Current Sensor (IPSO)    | Corriente L1 (A) — OBIS 31.7.0  |
 * |        |                          | Res 5700 = Sensor Value          |
 * +--------+--------------------------+----------------------------------+
 * | 3300/0 | Generic Sensor (Energy)  | kWh importada — OBIS 1.8.0      |
 * |        |                          | Res 5700 = Sensor Value          |
 * +--------+--------------------------+----------------------------------+
 * | 3300/1 | Generic Sensor (PF)      | Factor de potencia — OBIS 13.7.0|
 * |        |                          | Res 5700 = Sensor Value          |
 * +--------+--------------------------+----------------------------------+
 * | 5      | Firmware Update           | FOTA via MCUboot + LwM2M        |
 * +--------+--------------------------+----------------------------------+
 */
```

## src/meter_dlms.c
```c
/*
 * meter_dlms.c — DLMS/COSEM parser (IEC 62056-21 Mode C)
 *
 * Comunicación UART @ 9600 bps con medidor vía RS-485.
 * Implementa secuencia IEC 62056-21 Mode C simplificada:
 *   /?!\r\n  →  /ISK5\2MT382  →  ACK 0:0:1\r\n  →  Data block
 */

#include <zephyr/kernel.h>
#include <zephyr/logging/log.h>
#include <zephyr/device.h>
#include <zephyr/drivers/uart.h>
#include <zephyr/drivers/gpio.h>
#include <string.h>
#include <stdlib.h>

#include "meter_dlms.h"

LOG_MODULE_REGISTER(dlms, LOG_LEVEL_INF);

/* Device tree nodes */
#define METER_UART_NODE DT_ALIAS(meter_uart)
static const struct device *uart_dev = DEVICE_DT_GET(METER_UART_NODE);

/* RS-485 DE/RE control pin */
static const struct gpio_dt_spec rs485_de =
	GPIO_DT_SPEC_GET(DT_NODELABEL(rs485_de), gpios);

/* UART RX buffer */
#define RX_BUF_SIZE 512
static uint8_t rx_buf[RX_BUF_SIZE];
static volatile int rx_len;
static struct k_sem rx_sem;

/* Timeout for meter response (ms) */
#define METER_TIMEOUT_MS 5000

/* --- UART ISR callback --- */
static void uart_cb(const struct device *dev, struct uart_event *evt,
		    void *user_data)
{
	switch (evt->type) {
	case UART_RX_RDY:
		rx_len = evt->data.rx.len;
		k_sem_give(&rx_sem);
		break;
	case UART_RX_DISABLED:
		break;
	default:
		break;
	}
}

/* --- RS-485 direction control --- */
static void rs485_tx_enable(void)
{
	gpio_pin_set_dt(&rs485_de, 1); /* DE=HIGH → TX mode */
}

static void rs485_rx_enable(void)
{
	gpio_pin_set_dt(&rs485_de, 0); /* DE=LOW → RX mode */
}

/* --- Send IEC 62056-21 request --- */
static int dlms_send_request(const uint8_t *data, size_t len)
{
	rs485_tx_enable();
	k_usleep(100); /* Stabilization time */

	for (size_t i = 0; i < len; i++) {
		uart_poll_out(uart_dev, data[i]);
	}

	/* Wait for TX complete */
	k_msleep(10 + (len * 2)); /* ~1ms per byte @ 9600 */
	rs485_rx_enable();

	return 0;
}

/* --- Receive response with timeout --- */
static int dlms_receive(uint8_t *buf, size_t max_len, int timeout_ms)
{
	rx_len = 0;
	int ret = uart_rx_enable(uart_dev, rx_buf, sizeof(rx_buf),
				 timeout_ms * 1000); /* us */
	if (ret < 0) {
		return ret;
	}

	ret = k_sem_take(&rx_sem, K_MSEC(timeout_ms));
	if (ret < 0) {
		uart_rx_disable(uart_dev);
		return -ETIMEDOUT;
	}

	int copy_len = MIN(rx_len, max_len);
	memcpy(buf, rx_buf, copy_len);
	return copy_len;
}

/* --- Parse OBIS value from data block --- */
static float parse_obis_value(const char *data, const char *obis_code)
{
	const char *pos = strstr(data, obis_code);
	if (!pos) {
		return -1.0f;
	}

	/* Format: "1.8.0(012345.678*kWh)" */
	pos = strchr(pos, '(');
	if (!pos) {
		return -1.0f;
	}

	return strtof(pos + 1, NULL);
}

int meter_dlms_init(void)
{
	if (!device_is_ready(uart_dev)) {
		LOG_ERR("UART device not ready");
		return -ENODEV;
	}

	/* Configure RS-485 DE pin */
	if (gpio_is_ready_dt(&rs485_de)) {
		gpio_pin_configure_dt(&rs485_de, GPIO_OUTPUT_INACTIVE);
		rs485_rx_enable();
	}

	/* Init UART async */
	k_sem_init(&rx_sem, 0, 1);
	uart_callback_set(uart_dev, uart_cb, NULL);

	LOG_INF("DLMS meter UART initialized");
	return 0;
}

int meter_dlms_read(struct meter_reading *reading)
{
	uint8_t response[RX_BUF_SIZE];
	int ret;

	/* IEC 62056-21 Mode C: Send request "/?!\r\n" */
	static const uint8_t iec_request[] = "/?!\r\n";
	dlms_send_request(iec_request, sizeof(iec_request) - 1);

	/* Wait for identification response */
	ret = dlms_receive(response, sizeof(response) - 1, METER_TIMEOUT_MS);
	if (ret < 0) {
		LOG_WRN("DLMS: no response from meter");
		return ret;
	}
	response[ret] = '\0';

	/* Send ACK with programming mode request */
	static const uint8_t iec_ack[] = "\x06"  /* ACK */
					  "0"    /* Protocol mode */
					  "0"    /* Baud rate (keep 9600) */
					  "1"    /* Mode (data readout) */
					  "\r\n";
	dlms_send_request(iec_ack, sizeof(iec_ack) - 1);

	/* Wait for data block */
	ret = dlms_receive(response, sizeof(response) - 1, METER_TIMEOUT_MS);
	if (ret < 0) {
		LOG_WRN("DLMS: no data block received");
		return ret;
	}
	response[ret] = '\0';

	/* Parse OBIS values */
	reading->energy_kwh = parse_obis_value((char *)response, "1.8.0");
	reading->energy_exp_kwh = parse_obis_value((char *)response, "2.8.0");
	reading->current_a = parse_obis_value((char *)response, "31.7.0");
	reading->voltage_v = parse_obis_value((char *)response, "32.7.0");
	reading->power_factor = parse_obis_value((char *)response, "13.7.0");
	reading->timestamp_ms = k_uptime_get();

	/* Validate */
	if (reading->voltage_v < 0 || reading->current_a < 0) {
		LOG_WRN("DLMS: incomplete data (some OBIS codes missing)");
		return -EIO;
	}

	LOG_INF("DLMS read OK: %.1fV %.2fA %.3fkWh",
		reading->voltage_v, reading->current_a,
		reading->energy_kwh);

	return 0;
}
```

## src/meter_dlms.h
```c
/*
 * meter_dlms.h — DLMS/COSEM meter parser over RS-485/UART
 */

#ifndef METER_DLMS_H_
#define METER_DLMS_H_

#include "lwm2m_client.h"  /* struct meter_reading */

/**
 * @brief Inicializar interfaz UART para comunicación DLMS
 * @return 0 en éxito
 */
int meter_dlms_init(void);

/**
 * @brief Leer medidor vía protocolo DLMS/COSEM
 * 
 * Lee códigos OBIS estándar:
 * - 1.8.0: Energía activa importada (kWh)
 * - 2.8.0: Energía activa exportada (kWh)
 * - 31.7.0: Corriente fase L1 (A)
 * - 32.7.0: Tensión fase L1 (V)
 * 
 * @param reading Estructura donde almacenar la lectura
 * @return 0 en éxito, -ETIMEDOUT si no responde, -EIO en error
 */
int meter_dlms_read(struct meter_reading *reading);

#endif /* METER_DLMS_H_ */
```

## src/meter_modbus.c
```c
/*
 * meter_modbus.c — Modbus RTU client for energy meters
 *
 * Lee holding registers (función 0x03) del medidor:
 * - Register 0x0000-0x0001: Voltage (IEEE 754 float, 2 regs)
 * - Register 0x0006-0x0007: Current (IEEE 754 float, 2 regs)
 * - Register 0x0100-0x0101: Active Energy (IEEE 754 float, 2 regs)
 * - Register 0x001E-0x001F: Power Factor (IEEE 754 float, 2 regs)
 *
 * TODO: Migrar a Zephyr Modbus subsystem (CONFIG_MODBUS)
 *       cuando el soporte UART async esté completo para ESP32-C6
 */

#include <zephyr/kernel.h>
#include <zephyr/logging/log.h>
#include <zephyr/device.h>
#include <zephyr/drivers/uart.h>
#include <string.h>

#include "meter_modbus.h"

LOG_MODULE_REGISTER(modbus, LOG_LEVEL_INF);

/* Modbus slave address (configurable) */
#define MODBUS_SLAVE_ADDR  1

/* Register addresses (typical SDM630/SDM120/Eastron meters) */
#define REG_VOLTAGE        0x0000
#define REG_CURRENT        0x0006
#define REG_ACTIVE_ENERGY  0x0156
#define REG_POWER_FACTOR   0x001E

#define MODBUS_TIMEOUT_MS  3000

/* CRC-16/Modbus lookup */
static uint16_t modbus_crc16(const uint8_t *data, size_t len)
{
	uint16_t crc = 0xFFFF;

	for (size_t i = 0; i < len; i++) {
		crc ^= data[i];
		for (int j = 0; j < 8; j++) {
			if (crc & 0x0001) {
				crc = (crc >> 1) ^ 0xA001;
			} else {
				crc >>= 1;
			}
		}
	}

	return crc;
}

/* Convert 2 Modbus registers (big-endian) to IEEE 754 float */
static float regs_to_float(uint16_t reg_hi, uint16_t reg_lo)
{
	uint32_t raw = ((uint32_t)reg_hi << 16) | reg_lo;
	float val;
	memcpy(&val, &raw, sizeof(val));
	return val;
}

int meter_modbus_init(void)
{
	/*
	 * Comparte UART con DLMS — el init de hardware ya lo hace meter_dlms.
	 * Aquí solo verificamos disponibilidad.
	 */
	LOG_INF("Modbus RTU initialized (slave addr: %d)", MODBUS_SLAVE_ADDR);
	return 0;
}

int meter_modbus_read(struct meter_reading *reading)
{
	/* TODO: Implementar lectura real usando Zephyr Modbus RTU client
	 *
	 * Pseudocódigo:
	 * 1. Build Modbus frame: [addr][0x03][reg_hi][reg_lo][count_hi][count_lo][crc_lo][crc_hi]
	 * 2. Send via UART (RS-485 TX mode)
	 * 3. Switch to RX, wait response
	 * 4. Parse response: [addr][0x03][byte_count][data...][crc_lo][crc_hi]
	 * 5. Convert registers to float values
	 */

	/* Placeholder — return simulated data for initial testing */
	reading->voltage_v = 220.0f + (k_uptime_get_32() % 20) - 10;
	reading->current_a = 5.1f;
	reading->energy_kwh = 12345.678f;
	reading->energy_exp_kwh = 0.0f;
	reading->power_factor = 0.95f;
	reading->timestamp_ms = k_uptime_get();

	LOG_DBG("Modbus (simulated): %.1fV %.2fA", reading->voltage_v,
		reading->current_a);

	return 0;
}
```

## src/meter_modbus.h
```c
/*
 * meter_modbus.h — Modbus RTU meter reader
 */

#ifndef METER_MODBUS_H_
#define METER_MODBUS_H_

#include "lwm2m_client.h"

/**
 * @brief Inicializar interfaz Modbus RTU
 * @return 0 en éxito
 */
int meter_modbus_init(void);

/**
 * @brief Leer medidor vía Modbus RTU (función 0x03 Read Holding Registers)
 * 
 * @param reading Estructura donde almacenar la lectura
 * @return 0 en éxito, código de error negativo en fallo
 */
int meter_modbus_read(struct meter_reading *reading);

#endif /* METER_MODBUS_H_ */
```

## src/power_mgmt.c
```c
/*
 * power_mgmt.c — Power management using Zephyr PM subsystem
 *
 * En la implementación actual, usamos k_msleep() como base.
 * Para producción, esto se extendería con:
 * - Light sleep (mantiene RAM, radio off)
 * - Deep sleep (solo RTC, wake por timer o GPIO)
 * - Thread SED polling interval coordination
 */

#include <zephyr/kernel.h>
#include <zephyr/logging/log.h>
#include <zephyr/pm/pm.h>
#include <zephyr/pm/device.h>
#include <zephyr/pm/policy.h>

#include "power_mgmt.h"

LOG_MODULE_REGISTER(power, LOG_LEVEL_INF);

void power_mgmt_sleep(uint32_t duration_ms)
{
	LOG_DBG("Sleeping for %u ms", duration_ms);

	/*
	 * Zephyr PM subsystem automáticamente selecciona el estado
	 * de bajo consumo más profundo permitido basándose en:
	 * - Duración del sleep solicitada
	 * - Latencia máxima permitida
	 * - Periféricos activos (UART, radio)
	 *
	 * Para ESP32-C6:
	 * - PM_STATE_RUNTIME_IDLE: ~7 mA (CPU idle, radio standby)
	 * - PM_STATE_SUSPEND_TO_IDLE: ~0.8 mA (light sleep, radio off)
	 * - PM_STATE_SUSPEND_TO_RAM: ~7 µA (deep sleep, solo RTC)
	 *
	 * Con Thread FTD activo, no podemos hacer deep sleep
	 * sin perder la conexión mesh. Usamos light sleep
	 * que permite wake rápido para recibir mensajes Thread.
	 */

	/* Por ahora, simple kernel sleep que permite PM automático */
	k_msleep(duration_ms);
}

float power_mgmt_get_current_ma(void)
{
	/*
	 * Estimación basada en datasheet ESP32-C6:
	 * - Active (CPU + radio TX): 22 mA
	 * - Active (CPU + radio RX): 19 mA
	 * - Modem sleep: 5 mA
	 * - Light sleep: 0.8 mA
	 * - Deep sleep: 0.007 mA
	 *
	 * TODO: Medir con INA219 para valores reales
	 */
	return 1.0f; /* Promedio estimado con duty cycle 5% */
}
```

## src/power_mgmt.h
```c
/*
 * power_mgmt.h — Power management for ESP32-C6
 */

#ifndef POWER_MGMT_H_
#define POWER_MGMT_H_

#include <stdint.h>

/**
 * @brief Dormir el sistema por un período determinado
 * 
 * Utiliza el subsistema PM de Zephyr para entrar en el estado
 * de bajo consumo más profundo posible mientras mantiene
 * la red Thread en modo SED (Sleepy End Device) o CSL receiver.
 * 
 * @param duration_ms Duración del sleep en milisegundos
 */
void power_mgmt_sleep(uint32_t duration_ms);

/**
 * @brief Obtener consumo estimado actual (mA)
 * @return Corriente estimada en mA basada en estado actual
 */
float power_mgmt_get_current_ma(void);

#endif /* POWER_MGMT_H_ */
```
